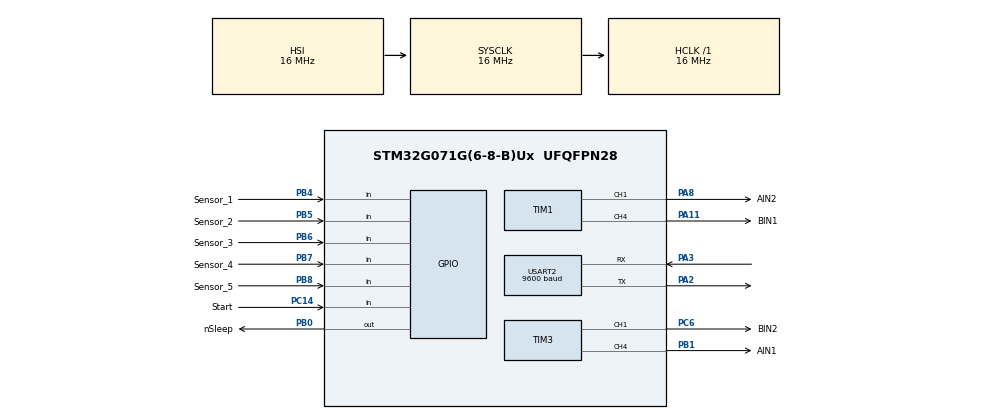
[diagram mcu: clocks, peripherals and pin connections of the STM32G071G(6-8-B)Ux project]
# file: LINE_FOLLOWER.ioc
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Mcu.Family=STM32G0
Mcu.Name=STM32G071G(6-8-B)Ux
Mcu.Package=UFQFPN28
NVIC.USART2_IRQn=true\:0\:0\:false\:false\:true\:true\:true\:true
PA11\ [PA9].GPIO_Label=BIN1
PA11\ [PA9].Signal=S_TIM1_CH4
PA13.Mode=Serial_Wire
PA13.Signal=SYS_SWDIO
PA14-BOOT0.Mode=Serial_Wire
PA14-BOOT0.Signal=SYS_SWCLK
PA2.Mode=Asynchronous
PA2.Signal=USART2_TX
PA3.Mode=Asynchronous
PA3.Signal=USART2_RX
PA8.GPIO_Label=AIN2
PA8.Signal=S_TIM1_CH1
PB0.GPIO_Label=nSleep
PB0.Signal=GPIO_Output
PB1.GPIO_Label=AIN1
PB1.Signal=S_TIM3_CH4
PB4.GPIO_Label=Sensor_1
PB4.Signal=GPIO_Input
PB5.GPIO_Label=Sensor_2
PB5.Signal=GPIO_Input
PB6.GPIO_Label=Sensor_3
PB6.Signal=GPIO_Input
PB7.GPIO_Label=Sensor_4
PB7.Signal=GPIO_Input
PB8.GPIO_Label=Sensor_5
PB8.Signal=GPIO_Input
PC14-OSC32_IN\ (PC14).GPIO_Label=Start
PC14-OSC32_IN\ (PC14).Signal=GPIO_Input
PC6.GPIO_Label=BIN2
PC6.Signal=S_TIM3_CH1
ProjectManager.HeapSize=0x200
ProjectManager.StackSize=0x400
ProjectManager.TargetToolchain=STM32CubeIDE
RCC.AHBFreq_Value=16000000
RCC.CortexFreq_Value=16000000
RCC.EXTERNAL_CLOCK_VALUE=48000
RCC.HCLKFreq_Value=16000000
RCC.HSE_VALUE=8000000
RCC.HSI_VALUE=16000000
RCC.LSE_VALUE=32768
RCC.SYSCLKFreq_VALUE=16000000
RCC.VCOOutputFreq_Value=128000000
SH.S_TIM1_CH1.0=TIM1_CH1,PWM Generation1 CH1
SH.S_TIM1_CH4.0=TIM1_CH4,PWM Generation4 CH4
SH.S_TIM3_CH1.0=TIM3_CH1,PWM Generation1 CH1
SH.S_TIM3_CH4.0=TIM3_CH4,PWM Generation4 CH4
TIM1.Channel-PWM\ Generation1\ CH1=TIM_CHANNEL_1
TIM1.Channel-PWM\ Generation4\ CH4=TIM_CHANNEL_4
TIM3.Channel-PWM\ Generation1\ CH1=TIM_CHANNEL_1
TIM3.Channel-PWM\ Generation4\ CH4=TIM_CHANNEL_4
USART2.BaudRate=9600
USART2.VirtualMode-Asynchronous=VM_ASYNC
board=custom

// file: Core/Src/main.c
/* USER CODE BEGIN Header */
/**
  ******************************************************************************
  * @file           : main.c
  * @brief          : Main program body
  ******************************************************************************
  * @attention
  *
  * Copyright (c) 2026 STMicroelectronics.
  * All rights reserved.
  *
  * This software is licensed under terms that can be found in the LICENSE file
  * in the root directory of this software component.
  * If no LICENSE file comes with this software, it is provided AS-IS.
  *
  ******************************************************************************
  */
/* USER CODE END Header */
#include "main.h"

/* USER CODE BEGIN Includes */

#include "LF.h"
/* USER CODE END Includes */

/* USER CODE BEGIN PD */
#define MAX_SPEED 		65535
#define MIN_SPEED 		10000
#define BASE_SPEED 		22000

#define RX_BUFFER_SIZE 	16

/* USER CODE END PD */

TIM_HandleTypeDef htim1;
TIM_HandleTypeDef htim3;

UART_HandleTypeDef huart2;

/* USER CODE BEGIN PV */

// ==================================================================
/* PID STUFF */
float P = 1.0f;
float I = 0.0f;
float D = 0.0f;

float error = 0;
float previous_error = 0;

float integral = 0;
float derivative = 0;

float pid_output = 0;

float dt = 0.01f; // 10ms loop

uint16_t base_speed = BASE_SPEED;

// ==================================================================
/* UART */
uint8_t rx_byte;
char rx_buffer[RX_BUFFER_SIZE];

volatile uint16_t rx_index = 0;
volatile uint8_t rx_ready = 0;

// ==================================================================
/* SENSORS */
uint16_t sensors[ARRAY_SIZE] = {Sensor_1_Pin, Sensor_2_Pin, Sensor_3_Pin, Sensor_4_Pin, Sensor_5_Pin};
uint8_t sensor_values[ARRAY_SIZE] = {0};
int8_t sensor_weights[ARRAY_SIZE] = {-2, -1, 0, 1, 2};

/* USER CODE END PV */

void SystemClock_Config(void);
static void MX_GPIO_Init(void);
static void MX_TIM1_Init(void);
static void MX_TIM3_Init(void);
static void MX_USART2_UART_Init(void);

int main(void)
{

  /* MCU Configuration--------------------------------------------------------*/

  /* Reset of all peripherals, Initializes the Flash interface and the Systick. */
  HAL_Init();

  /* Configure the system clock */
  SystemClock_Config();

  /* Initialize all configured peripherals */
  MX_GPIO_Init();
  MX_TIM1_Init();
  MX_TIM3_Init();
  MX_USART2_UART_Init();
  /* USER CODE BEGIN 2 */
  HAL_UART_Receive_IT(&huart2, &rx_byte, 1);

  HAL_GPIO_WritePin(nSleep_GPIO_Port, nSleep_Pin, GPIO_PIN_SET);

  HAL_TIM_PWM_Start(&htim1, TIM_CHANNEL_1);
  HAL_TIM_PWM_Start(&htim1, TIM_CHANNEL_4);

  HAL_TIM_PWM_Start(&htim3, TIM_CHANNEL_1);
  HAL_TIM_PWM_Start(&htim3, TIM_CHANNEL_4);

  /* USER CODE END 2 */

  /* Infinite loop */
  /* USER CODE BEGIN WHILE */
  while (1)
  {

	  int32_t left_speed;
	  int32_t right_speed;

	  //uint8_t start = HAL_GPIO_ReadPin(Start_GPIO_Port, Start_Pin);

	  if(rx_ready)
	  {
		  cmd_service(rx_buffer, &P, &I, &D, &base_speed);
		  rx_ready = 0;
	  }

	  /* PID CALCULATIONS */
	  error = read_sensors(sensors, sensor_values, sensor_weights, &previous_error);
	  integral += error * dt;

	  if(integral > 100) integral = 100;

	  if(integral < -100) integral = -100;

	  derivative = (error - previous_error) / dt;
	  pid_output = (P * error) + (I * integral) + (D * derivative);
	  previous_error = error;

	  if(pid_output > MAX_SPEED) pid_output = MAX_SPEED;
	  if(pid_output < -MAX_SPEED) pid_output = -MAX_SPEED;

	  /* SPEED APLICATION */
	  left_speed  = base_speed + (int32_t)pid_output;
	  right_speed = base_speed - (int32_t)pid_output;

	  if(left_speed > MAX_SPEED) left_speed = MAX_SPEED;
	  if(left_speed < -MAX_SPEED)  left_speed = -MAX_SPEED;
	  if(right_speed > MAX_SPEED)right_speed = MAX_SPEED;
	  if(right_speed < -MAX_SPEED)right_speed = -MAX_SPEED;

	  set_left_motor(left_speed);
	  set_right_motor(right_speed);

	  HAL_Delay(10);

    /* USER CODE END WHILE */

  }
}

void SystemClock_Config(void)
{
  RCC_OscInitTypeDef RCC_OscInitStruct = {0};
  RCC_ClkInitTypeDef RCC_ClkInitStruct = {0};

  /** Configure the main internal regulator output voltage
  */
  HAL_PWREx_ControlVoltageScaling(PWR_REGULATOR_VOLTAGE_SCALE1);

  /** Initializes the RCC Oscillators according to the specified parameters
  * in the RCC_OscInitTypeDef structure.
  */
  RCC_OscInitStruct.OscillatorType = RCC_OSCILLATORTYPE_HSI;
  RCC_OscInitStruct.HSIState = RCC_HSI_ON;
  RCC_OscInitStruct.HSIDiv = RCC_HSI_DIV1;
  RCC_OscInitStruct.HSICalibrationValue = RCC_HSICALIBRATION_DEFAULT;
  RCC_OscInitStruct.PLL.PLLState = RCC_PLL_NONE;
  if (HAL_RCC_OscConfig(&RCC_OscInitStruct) != HAL_OK)
  {
    Error_Handler();
  }

  /** Initializes the CPU, AHB and APB buses clocks
  */
  RCC_ClkInitStruct.ClockType = RCC_CLOCKTYPE_HCLK|RCC_CLOCKTYPE_SYSCLK
                              |RCC_CLOCKTYPE_PCLK1;
  RCC_ClkInitStruct.SYSCLKSource = RCC_SYSCLKSOURCE_HSI;
  RCC_ClkInitStruct.AHBCLKDivider = RCC_SYSCLK_DIV1;
  RCC_ClkInitStruct.APB1CLKDivider = RCC_HCLK_DIV1;

  if (HAL_RCC_ClockConfig(&RCC_ClkInitStruct, FLASH_LATENCY_0) != HAL_OK)
  {
    Error_Handler();
  }
}

static void MX_TIM1_Init(void)
{

  TIM_MasterConfigTypeDef sMasterConfig = {0};
  TIM_OC_InitTypeDef sConfigOC = {0};
  TIM_BreakDeadTimeConfigTypeDef sBreakDeadTimeConfig = {0};

  htim1.Instance = TIM1;
  htim1.Init.Prescaler = 0;
  htim1.Init.CounterMode = TIM_COUNTERMODE_UP;
  htim1.Init.Period = 65535;
  htim1.Init.ClockDivision = TIM_CLOCKDIVISION_DIV1;
  htim1.Init.RepetitionCounter = 0;
  htim1.Init.AutoReloadPreload = TIM_AUTORELOAD_PRELOAD_DISABLE;
  if (HAL_TIM_PWM_Init(&htim1) != HAL_OK)
  {
    Error_Handler();
  }
  sMasterConfig.MasterOutputTrigger = TIM_TRGO_RESET;
  sMasterConfig.MasterOutputTrigger2 = TIM_TRGO2_RESET;
  sMasterConfig.MasterSlaveMode = TIM_MASTERSLAVEMODE_DISABLE;
  if (HAL_TIMEx_MasterConfigSynchronization(&htim1, &sMasterConfig) != HAL_OK)
  {
    Error_Handler();
  }
  sConfigOC.OCMode = TIM_OCMODE_PWM1;
  sConfigOC.Pulse = 0;
  sConfigOC.OCPolarity = TIM_OCPOLARITY_HIGH;
  sConfigOC.OCNPolarity = TIM_OCNPOLARITY_HIGH;
  sConfigOC.OCFastMode = TIM_OCFAST_DISABLE;
  sConfigOC.OCIdleState = TIM_OCIDLESTATE_RESET;
  sConfigOC.OCNIdleState = TIM_OCNIDLESTATE_RESET;
  if (HAL_TIM_PWM_ConfigChannel(&htim1, &sConfigOC, TIM_CHANNEL_1) != HAL_OK)
  {
    Error_Handler();
  }
  if (HAL_TIM_PWM_ConfigChannel(&htim1, &sConfigOC, TIM_CHANNEL_4) != HAL_OK)
  {
    Error_Handler();
  }
  sBreakDeadTimeConfig.OffStateRunMode = TIM_OSSR_DISABLE;
  sBreakDeadTimeConfig.OffStateIDLEMode = TIM_OSSI_DISABLE;
  sBreakDeadTimeConfig.LockLevel = TIM_LOCKLEVEL_OFF;
  sBreakDeadTimeConfig.DeadTime = 0;
  sBreakDeadTimeConfig.BreakState = TIM_BREAK_DISABLE;
  sBreakDeadTimeConfig.BreakPolarity = TIM_BREAKPOLARITY_HIGH;
  sBreakDeadTimeConfig.BreakFilter = 0;
  sBreakDeadTimeConfig.BreakAFMode = TIM_BREAK_AFMODE_INPUT;
  sBreakDeadTimeConfig.Break2State = TIM_BREAK2_DISABLE;
  sBreakDeadTimeConfig.Break2Polarity = TIM_BREAK2POLARITY_HIGH;
  sBreakDeadTimeConfig.Break2Filter = 0;
  sBreakDeadTimeConfig.Break2AFMode = TIM_BREAK_AFMODE_INPUT;
  sBreakDeadTimeConfig.AutomaticOutput = TIM_AUTOMATICOUTPUT_DISABLE;
  if (HAL_TIMEx_ConfigBreakDeadTime(&htim1, &sBreakDeadTimeConfig) != HAL_OK)
  {
    Error_Handler();
  }
  HAL_TIM_MspPostInit(&htim1);

}

static void MX_TIM3_Init(void)
{

  TIM_MasterConfigTypeDef sMasterConfig = {0};
  TIM_OC_InitTypeDef sConfigOC = {0};

  htim3.Instance = TIM3;
  htim3.Init.Prescaler = 0;
  htim3.Init.CounterMode = TIM_COUNTERMODE_UP;
  htim3.Init.Period = 65535;
  htim3.Init.ClockDivision = TIM_CLOCKDIVISION_DIV1;
  htim3.Init.AutoReloadPreload = TIM_AUTORELOAD_PRELOAD_DISABLE;
  if (HAL_TIM_PWM_Init(&htim3) != HAL_OK)
  {
    Error_Handler();
  }
  sMasterConfig.MasterOutputTrigger = TIM_TRGO_RESET;
  sMasterConfig.MasterSlaveMode = TIM_MASTERSLAVEMODE_DISABLE;
  if (HAL_TIMEx_MasterConfigSynchronization(&htim3, &sMasterConfig) != HAL_OK)
  {
    Error_Handler();
  }
  sConfigOC.OCMode = TIM_OCMODE_PWM1;
  sConfigOC.Pulse = 0;
  sConfigOC.OCPolarity = TIM_OCPOLARITY_HIGH;
  sConfigOC.OCFastMode = TIM_OCFAST_DISABLE;
  if (HAL_TIM_PWM_ConfigChannel(&htim3, &sConfigOC, TIM_CHANNEL_1) != HAL_OK)
  {
    Error_Handler();
  }
  if (HAL_TIM_PWM_ConfigChannel(&htim3, &sConfigOC, TIM_CHANNEL_4) != HAL_OK)
  {
    Error_Handler();
  }
  HAL_TIM_MspPostInit(&htim3);

}

static void MX_USART2_UART_Init(void)
{

  huart2.Instance = USART2;
  huart2.Init.BaudRate = 9600;
  huart2.Init.WordLength = UART_WORDLENGTH_8B;
  huart2.Init.StopBits = UART_STOPBITS_1;
  huart2.Init.Parity = UART_PARITY_NONE;
  huart2.Init.Mode = UART_MODE_TX_RX;
  huart2.Init.HwFlowCtl = UART_HWCONTROL_NONE;
  huart2.Init.OverSampling = UART_OVERSAMPLING_16;
  huart2.Init.OneBitSampling = UART_ONE_BIT_SAMPLE_DISABLE;
  huart2.Init.ClockPrescaler = UART_PRESCALER_DIV1;
  huart2.AdvancedInit.AdvFeatureInit = UART_ADVFEATURE_NO_INIT;
  if (HAL_UART_Init(&huart2) != HAL_OK)
  {
    Error_Handler();
  }
  if (HAL_UARTEx_SetTxFifoThreshold(&huart2, UART_TXFIFO_THRESHOLD_1_8) != HAL_OK)
  {
    Error_Handler();
  }
  if (HAL_UARTEx_SetRxFifoThreshold(&huart2, UART_RXFIFO_THRESHOLD_1_8) != HAL_OK)
  {
    Error_Handler();
  }
  if (HAL_UARTEx_DisableFifoMode(&huart2) != HAL_OK)
  {
    Error_Handler();
  }

}

static void MX_GPIO_Init(void)
{
  GPIO_InitTypeDef GPIO_InitStruct = {0};

  /* GPIO Ports Clock Enable */
  __HAL_RCC_GPIOC_CLK_ENABLE();
  __HAL_RCC_GPIOA_CLK_ENABLE();
  __HAL_RCC_GPIOB_CLK_ENABLE();

  /*Configure GPIO pin Output Level */
  HAL_GPIO_WritePin(nSleep_GPIO_Port, nSleep_Pin, GPIO_PIN_RESET);

  /*Configure GPIO pin : Start_Pin */
  GPIO_InitStruct.Pin = Start_Pin;
  GPIO_InitStruct.Mode = GPIO_MODE_INPUT;
  GPIO_InitStruct.Pull = GPIO_NOPULL;
  HAL_GPIO_Init(Start_GPIO_Port, &GPIO_InitStruct);

  /*Configure GPIO pin : nSleep_Pin */
  GPIO_InitStruct.Pin = nSleep_Pin;
  GPIO_InitStruct.Mode = GPIO_MODE_OUTPUT_PP;
  GPIO_InitStruct.Pull = GPIO_NOPULL;
  GPIO_InitStruct.Speed = GPIO_SPEED_FREQ_LOW;
  HAL_GPIO_Init(nSleep_GPIO_Port, &GPIO_InitStruct);

  /*Configure GPIO pins : Sensor_1_Pin Sensor_2_Pin Sensor_3_Pin Sensor_4_Pin
                           Sensor_5_Pin */
  GPIO_InitStruct.Pin = Sensor_1_Pin|Sensor_2_Pin|Sensor_3_Pin|Sensor_4_Pin
                          |Sensor_5_Pin;
  GPIO_InitStruct.Mode = GPIO_MODE_INPUT;
  GPIO_InitStruct.Pull = GPIO_NOPULL;
  HAL_GPIO_Init(GPIOB, &GPIO_InitStruct);

}

/* USER CODE BEGIN 4 */
void HAL_UART_RxCpltCallback(UART_HandleTypeDef *huart)
{
    static uint8_t receiving = 0;

    if(huart->Instance == USART2)
    {
        // ignore CR
        if(rx_byte == '\r')
        {
        }

        // message finished
        else if(rx_byte == '\n')
        {
            rx_buffer[rx_index] = '\0';

            rx_ready = 1;

            receiving = 0;
        }

        else
        {
            // first character of new message
            if(receiving == 0)
            {
                memset(rx_buffer, 0, sizeof(rx_buffer));
                rx_index = 0;

                receiving = 1;
            }

            // store character
            if(rx_index < RX_BUFFER_SIZE - 1)
            {
                rx_buffer[rx_index++] = rx_byte;
            }
        }

        HAL_UART_Receive_IT(&huart2, &rx_byte, 1);
    }
}

/* USER CODE END 4 */

void Error_Handler(void)
{
  __disable_irq();
  while (1)
  {
  }
}
